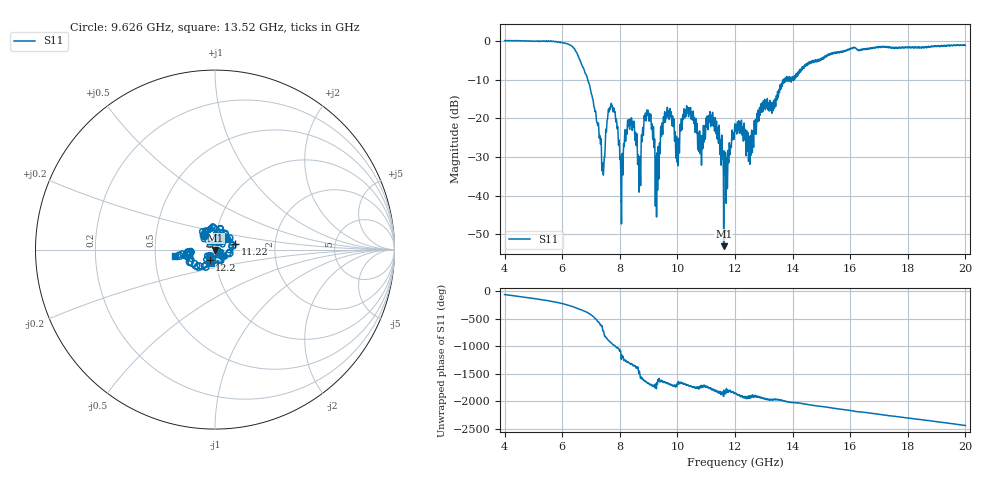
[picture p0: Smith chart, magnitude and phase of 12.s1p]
[Version] 2.0
! Rohde & Schwarz Vector Network Analyzer
! Rohde-Schwarz,ZNL20-2Port,1323001220200009,1.71.1.10-23.02.1.238
! Port Assignments:
! Nominal Port -> Actual Test Port
!  1 -> 1
! Created: GMT+2 2025-01-17 12:48:05
# Hz S RI R 50
[Number of Ports] 1
! freq[Hz]  S11[Re]  S11[Im]
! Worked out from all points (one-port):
!   16001 points, 4 GHz to 20 GHz, reference 50 ohm
!   lowest |S11| = -53.0 dB at 11.61 GHz (marker M1), VSWR 1.00, Z = 50.2 - j0.148 ohm
!   |S11| at or under -10 dB: 6.881 GHz to 13.7 GHz (6.817 GHz wide, 66.2 % of centre); 13.71204 GHz to 13.73998 GHz (27.94 MHz wide, 0.204 % of centre); 13.94144 GHz to 13.9641 GHz (22.66 MHz wide, 0.162 % of centre)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
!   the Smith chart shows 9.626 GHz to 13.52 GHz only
!   S11 on the Smith chart (normalised r, x): 9.626 GHz: 0.88, +0.14; 11.22 GHz: 1.25, +0.09; 12.2 GHz: 0.94, -0.11; 13.52 GHz: 0.63, -0.05
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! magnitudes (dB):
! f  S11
! 4 GHz  0.0
! 6 GHz  -0.5
! 6.883 GHz  -10.1
! 7.407 GHz  -31.7
! 7.626 GHz  -18.4
! 7.766 GHz  -18.3
! 8 GHz  -29.8
! 8.082 GHz  -29.2
! 8.341 GHz  -22.8
! 8.687 GHz  -30.5
! 8.823 GHz  -23.7
! 9.002 GHz  -20.4
! 9.297 GHz  -29.1
! 9.626 GHz  -20.0
! 10 GHz  -25.5
! 10.29 GHz  -19.5
! 10.78 GHz  -23.6
! 11.22 GHz  -18.6
! 11.61 GHz  -53.0
! 12 GHz  -21.9
! 12.2 GHz  -23.7
! 12.54 GHz  -24.5
! 12.92 GHz  -18.4
! 13.52 GHz  -12.9
! 14 GHz  -10.2
! 16 GHz  -2.0
! 18 GHz  -1.6
! 20 GHz  -1.2
